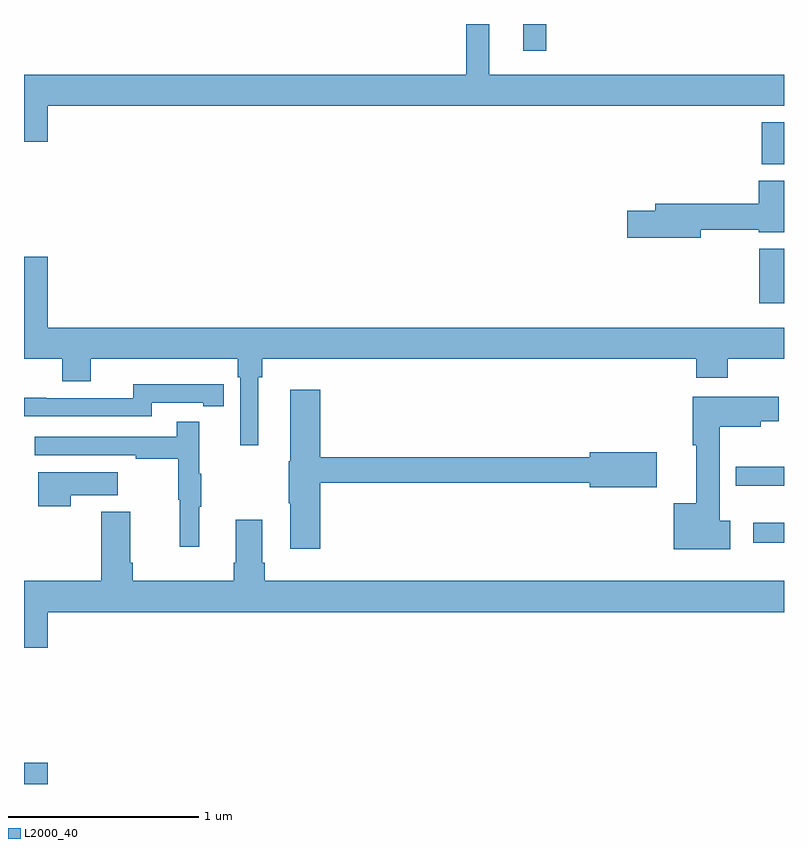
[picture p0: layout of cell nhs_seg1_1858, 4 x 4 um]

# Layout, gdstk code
import gdstk
lib = gdstk.Library(unit=1e-6, precision=1e-09)
def R(c, l, rs):  # rectangles x0, y0, x1, y1
    for r in rs: c.add(gdstk.rectangle(r[:2], r[2:], *l))
def P(c, l, *ps):  # polygons
    for p in ps: c.add(gdstk.Polygon(p, *l))
L2000_40 = (2000, 40)

nhs_seg1_1858 = lib.new_cell('nhs_seg1_1858')
R(nhs_seg1_1858, L2000_40, [(213,512.199,213.124,512.311), (216.837,513.47,217,513.574), (216.746,513.77,217,513.869), (216.869,514.728,217,515.015), (216.883,515.462,217,515.683), (215.627,516.057,215.749,516.199)])
P(nhs_seg1_1858, L2000_40, [(213.124,515.768),(217,515.768),(217,515.932),(215.449,515.932),(215.449,516.199),(215.328,516.199),(215.328,515.932),(213,515.932),(213,515.58),(213.124,515.58)],
  [(216.562,515.116),(216.866,515.116),(216.866,515.102),(217,515.102),(217,515.374),(216.866,515.374),(216.866,515.252),(216.323,515.252),(216.323,515.216),(216.174,515.216),(216.174,515.074),(216.562,515.074)],
  [(214.234,514.34),(214.253,514.34),(214.253,514.436),(216.539,514.436),(216.539,514.337),(216.704,514.337),(216.704,514.436),(217,514.436),(217,514.6),(213.124,514.6),(213.124,514.975),(213,514.975),(213,514.436),(213.2,514.436),(213.2,514.319),(213.352,514.319),(213.352,514.436),(214.124,514.436),(214.124,514.34),(214.137,514.34),(214.137,513.981),(214.234,513.981)],
  [(213.672,514.206),(213.944,514.206),(213.944,514.186),(214.052,514.186),(214.052,514.302),(213.944,514.302),(213.944,514.303),(213.576,514.303),(213.576,514.23),(213.116,514.23),(213.116,514.232),(213,514.232),(213,514.134),(213.672,514.134)],
  [(214.559,513.784),(215.978,513.784),(215.978,513.761),(216.331,513.761),(216.331,513.944),(215.978,513.944),(215.978,513.92),(214.559,513.92),(214.559,514.273),(214.4,514.273),(214.4,513.897),(214.393,513.897),(214.393,513.676),(214.4,513.676),(214.4,513.438),(214.559,513.438)],
  [(216.718,513.584),(216.661,513.584),(216.661,514.079),(216.877,514.079),(216.877,514.109),(216.972,514.109),(216.972,514.237),(216.521,514.237),(216.521,513.983),(216.539,513.983),(216.539,513.676),(216.419,513.676),(216.419,513.434),(216.718,513.434)],
  [(213.923,513.659),(213.934,513.659),(213.934,513.833),(213.923,513.833),(213.923,514.105),(213.805,514.105),(213.805,514.026),(213.057,514.026),(213.057,513.93),(213.589,513.93),(213.589,513.91),(213.813,513.91),(213.813,513.696),(213.82,513.696),(213.82,513.447),(213.923,513.447)],
  [(213.245,513.719),(213.493,513.719),(213.493,513.841),(213.074,513.841),(213.074,513.66),(213.245,513.66)],
  [(217,513.268),(214.268,513.268),(214.268,513.364),(214.255,513.364),(214.255,513.589),(214.115,513.589),(214.115,513.364),(214.103,513.364),(214.103,513.268),(213.572,513.268),(213.572,513.364),(213.559,513.364),(213.559,513.631),(213.407,513.631),(213.407,513.268),(213,513.268),(213,512.916),(213.124,512.916),(213.124,513.104),(217,513.104)])

lib.write_gds('nhs_seg1_1858.gds')
